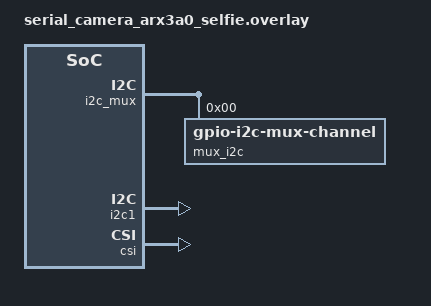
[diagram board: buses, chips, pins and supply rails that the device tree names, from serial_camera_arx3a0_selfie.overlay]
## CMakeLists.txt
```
# Copyright (C) 2026 Alif Semiconductor
# SPDX-License-Identifier: Apache-2.0

cmake_minimum_required(VERSION 3.20.0)
find_package(Zephyr REQUIRED HINTS $ENV{ZEPHYR_BASE})
project(video_capture)

target_sources(app PRIVATE src/main.c)
```

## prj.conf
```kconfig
# Copyright (C) 2026 Alif Semiconductor
# SPDX-License-Identifier: Apache-2.0

CONFIG_VIDEO=y
CONFIG_LOG=y
CONFIG_PRINTK=y
CONFIG_STDOUT_CONSOLE=y
CONFIG_I2C_TARGET=y
CONFIG_I2C=y
CONFIG_I2C_DW_CLOCK_SPEED=100
CONFIG_SYS_HEAP_AUTO=y
CONFIG_HEAP_MEM_POOL_SIZE=256
```

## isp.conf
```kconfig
# Copyright (C) 2026 Alif Semiconductor
# SPDX-License-Identifier: Apache-2.0
#
# ISP configuration. ISP output is 480x480 RGB888 planar (~691KB per frame).

CONFIG_VIDEO_BUFFER_POOL_SZ_MAX=154624
CONFIG_VIDEO_BUFFER_POOL_NUM_MAX=6
CONFIG_USE_ALIF_ISP_LIB=y
CONFIG_ISP_LIB_SCALAR_MODULE=y
CONFIG_ISP_LIB_DMSC_MODULE=y
CONFIG_ISP_LIB_CCM_MODULE=n
CONFIG_ISP_LIB_WBM_MODULE=n
CONFIG_ISP_LIB_WB_MODULE=n
```

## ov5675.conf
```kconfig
# Copyright (C) 2026 Alif Semiconductor
# SPDX-License-Identifier: Apache-2.0
#
# OV5675 non-ISP buffer pool configuration.
# OV5675 captures 1296x972 Y10P (pitch=2592), needing ~2.5MB per frame.
# Only 1 buffer fits in SRAM0 (4MB), so only single-frame capture is possible.

CONFIG_VIDEO_BUFFER_POOL_SZ_MAX=2523520
CONFIG_VIDEO_BUFFER_POOL_NUM_MAX=1
```

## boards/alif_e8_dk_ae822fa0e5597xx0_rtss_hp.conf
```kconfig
# Copyright (C) 2026 Alif Semiconductor
# SPDX-License-Identifier: Apache-2.0

CONFIG_VIDEO_ALIF_CAM_EXTENDED=y
```

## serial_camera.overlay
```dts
/* Copyright (C) 2026 Alif Semiconductor.
 * SPDX-License-Identifier: Apache-2.0
 *
 * Camera controller with direct memory output (non-ISP path).
 */

&cam {
	status = "okay";

	pinctrl-0 = <&pinctrl_cam_xvclk>;
	pinctrl-names = "default";

	data-mode = "16-bit";

	ports {
		#address-cells = <1>;
		#size-cells = <0>;

		/* MIPI CSI-2 bus endpoint. */
		port@0 {
			reg = <0>;
			cam_csi2_ep_in: endpoint {
				remote-endpoint-label = "csi2_ep_out";
			};
		};

		/* Video buffer output endpoint. */
		port@1 {
			reg = <1>;
			cam_mem_ep_out: endpoint {
				remote-endpoint-label = "application";
			};
		};
	};
};
```

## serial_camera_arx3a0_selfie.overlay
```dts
/* Copyright (C) 2026 Alif Semiconductor.
 * SPDX-License-Identifier: Apache-2.0
 *
 * ARX3A0 selfie camera sensor + MIPI CSI-2 configuration for E8-DK.
 */

#include <dt-bindings/pinctrl/ensemble-pinctrl.h>
#include <dt-bindings/i2c/i2c.h>
#include <dt-bindings/gpio/gpio.h>
#include <dt-bindings/video/video-interfaces.h>

&i2c1 {
	status = "okay";
};

&gpio7 {
	status = "okay";
};

&gpio14 {
	status = "okay";
};

/{
	i2c_mux: i2c-mux {
		compatible = "gpio-i2c-mux";
		status = "okay";
		#address-cells = <1>;
		#size-cells = <0>;

		i2c-inst = <&i2c1>;

		ctrl-gpios = <&gpio14 3 GPIO_ACTIVE_HIGH>;

		mux_i2c@0 {
			compatible = "gpio-i2c-mux-channel";
			reg = <0>;

			#address-cells = <1>;
			#size-cells = <0>;

			arx3a0_selfie: arx3a0_selfie@36 {
				compatible = "onnn,arx3a0";
				reg = <0x36>;

				reset-gpios = <&gpio14 4 GPIO_ACTIVE_HIGH>;
				power-gpios = <&gpio7 5 GPIO_ACTIVE_HIGH>;

				status = "okay";

				port {
					arx3a0_csi2_ep_out0: endpoint {
						bus-type = <VIDEO_BUS_TYPE_CSI2_DPHY>;
						link-frequencies = < 400000000 >;
						data-lanes = <1 2>;
						clock-lane = <0>;

						remote-endpoint-label = "csi2_ep_in0";
					};
				};
			};
		};
	};
};

&csi {
	status = "okay";
    

	/* Selfie camera D-PHY */
	phy-if = <&dphy 0>;
	ports {
		#address-cells = <1>;
		#size-cells = <0>;
		port@0 {
			reg = <0>;
			csi2_ep_in0: endpoint {
				bus-type = <VIDEO_BUS_TYPE_CSI2_DPHY>;
				data-lanes = <1 2>;
				clock-lane = <0>;

				remote-endpoint-label = "arx3a0_csi2_ep_out0";
			};
		};
		port@2 {
			reg = <2>;
			csi2_ep_out: endpoint {
				remote-endpoint-label = "cam_csi2_ep_in";
				bus-type = <VIDEO_BUS_TYPE_PARALLEL>;
			};
		};
	};
};
```

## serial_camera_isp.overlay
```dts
/* Copyright (C) 2026 Alif Semiconductor.
 * SPDX-License-Identifier: Apache-2.0
 *
 * Camera controller with ISP output path.
 */

&isp {
	status = "okay";

	port {
		isp_ep_in: endpoint {
			remote-endpoint-label = "cam_isp_ep_out";
		};
	};
};

&cam {
	status = "okay";

	pinctrl-0 = <&pinctrl_cam_xvclk>;
	pinctrl-names = "default";

	data-mode = "16-bit";

	ports {
		#address-cells = <1>;
		#size-cells = <0>;

		/* MIPI CSI-2 bus endpoint. */
		port@0 {
			reg = <0>;
			cam_csi2_ep_in: endpoint {
				remote-endpoint-label = "csi2_ep_out";
			};
		};

		/* ISP Interface. */
		port@2 {
			reg = <2>;
			cam_isp_ep_out: endpoint {
				remote-endpoint-label = "isp_ep_in";
			};
		};
	};
};
```

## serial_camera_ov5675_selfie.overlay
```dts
/* Copyright (C) 2026 Alif Semiconductor.
 * SPDX-License-Identifier: Apache-2.0
 *
 * OV5675 selfie camera sensor + MIPI CSI-2 configuration for E8-DK.
 */

#include <dt-bindings/pinctrl/ensemble-pinctrl.h>
#include <dt-bindings/i2c/i2c.h>
#include <dt-bindings/gpio/gpio.h>
#include <dt-bindings/video/video-interfaces.h>

&i2c1 {
	status = "okay";
	clock-frequency = <I2C_BITRATE_FAST>;

	/*
	 * For Standard  speed LCNT=0 and HCNT=0
	 * For Fast      speed LCNT=50 and HCNT=30
	 * For Fast Plus speed LCNT=35 and HCNT=5
	 */
	hcnt-offset = <30>;
	lcnt-offset = <50>;
};

&gpio7 {
	status = "okay";
};

&gpio14 {
	status = "okay";
};

/{
	i2c_mux: i2c-mux {
		compatible = "gpio-i2c-mux";
		status = "okay";
		#address-cells = <1>;
		#size-cells = <0>;

		i2c-inst = <&i2c1>;

		ctrl-gpios = <&gpio14 3 GPIO_ACTIVE_HIGH>;

		mux_i2c@0 {
			compatible = "gpio-i2c-mux-channel";
			reg = <0>;

			#address-cells = <1>;
			#size-cells = <0>;
			/* 10 for compact version, 36 for legacy version */
			ov5675_selfie: ov5675_selfie@10 {
				compatible = "ovti,ov5675";
				reg = <0x10>;

				reset-gpios = <&gpio14 4 GPIO_ACTIVE_HIGH>;
				power-gpios = <&gpio7 5 GPIO_ACTIVE_HIGH>;

				status = "okay";

				port {
					ov5675_csi2_ep_out0: endpoint {
						bus-type = <VIDEO_BUS_TYPE_CSI2_DPHY>;
						link-frequencies = < 450000000 >;
						data-lanes = <1 2>;
						clock-lane = <0>;

						remote-endpoint-label = "csi2_ep_in1";
					};
				};
			};
		};
	};
};

&csi {
	status = "okay";

	/* Selfie camera D-PHY */
	phy-if = <&dphy 0>;
	ports {
		#address-cells = <1>;
		#size-cells = <0>;
		port@0 {
			reg = <0>;
			csi2_ep_in1: endpoint {
				bus-type = <VIDEO_BUS_TYPE_CSI2_DPHY>;
				data-lanes = <1 2>;
				clock-lane = <0>;

				remote-endpoint-label = "ov5675_csi2_ep_out0";
			};
		};
		port@2 {
			reg = <2>;
			csi2_ep_out: endpoint {
				remote-endpoint-label = "cam_csi2_ep_in";
				bus-type = <VIDEO_BUS_TYPE_PARALLEL>;
			};
		};
	};
};
```

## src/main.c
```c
/*
 * Copyright (C) 2026 Alif Semiconductor.
 * SPDX-License-Identifier: Apache-2.0
 *
 * Minimal video capture sample.
 * Captures a few frames and prints buffer addresses for memory dump.
 */

#include <zephyr/kernel.h>
#include <zephyr/device.h>
#include <zephyr/drivers/video.h>
#include <zephyr/drivers/video/video_alif.h>
#include <zephyr/drivers/gpio.h>
#include <soc_common.h>
#include <se_service.h>

#include <zephyr/logging/log.h>
LOG_MODULE_REGISTER(video_capture, LOG_LEVEL_INF);

#define ISP_ENABLED DT_NODE_HAS_STATUS_OKAY(DT_NODELABEL(isp))

#if ISP_ENABLED
#include <zephyr/drivers/video/isp-vsi.h>
#define OUTPUT_FORMAT VIDEO_PIX_FMT_RGB888_PLANAR_PRIVATE
#endif

#define VIDEO_BUFFER_COUNT CONFIG_VIDEO_BUFFER_POOL_NUM_MAX

#define PIPELINE_FORMAT VIDEO_PIX_FMT_Y10P
/* With single-buffer, driver stops CSI between frames and restart is unreliable.
 * Limit to 1 frame in that case; double-buffering (2+) allows continuous capture.
 */
#define N_FRAMES (VIDEO_BUFFER_COUNT > 1 ? 3 : 1)

static int fourcc_to_pitch(uint32_t fourcc, uint32_t width)
{
	switch (fourcc) {
	case VIDEO_PIX_FMT_RGB888_PLANAR_PRIVATE:
		return width * 3;
	case VIDEO_PIX_FMT_RGB565:
	case VIDEO_PIX_FMT_Y10P:
	case VIDEO_PIX_FMT_YUYV:
		return width << 1;
	case VIDEO_PIX_FMT_BGGR8:
	case VIDEO_PIX_FMT_GBRG8:
	case VIDEO_PIX_FMT_GRBG8:
	case VIDEO_PIX_FMT_RGGB8:
	case VIDEO_PIX_FMT_GREY:
	default:
		return width;
	}
}

int main(void)
{
	struct video_buffer *buffers[VIDEO_BUFFER_COUNT], *vbuf;
	struct video_format fmt = {0};
	struct video_caps caps;
	const struct device *video;
	enum video_endpoint_id ep;
	size_t bsize;
	int i = 0;
	int ret;

#if ISP_ENABLED
	video = DEVICE_DT_GET_ONE(vsi_isp_pico);
#else
	video = DEVICE_DT_GET_ONE(alif_cam);
#endif

	if (!device_is_ready(video)) {
		LOG_ERR("%s: device not ready.", video->name);
		return -1;
	}
	LOG_INF("Device: %s", video->name);

	/* Get capabilities from the pipeline input side */
#if ISP_ENABLED
	ep = VIDEO_EP_IN;
#else
	ep = VIDEO_EP_OUT;
#endif

	ret = video_get_caps(video, ep, &caps);
	if (ret) {
		LOG_ERR("Unable to retrieve video capabilities");
		return -1;
	}

	/* Find Y10P format in caps */
	while (caps.format_caps[i].pixelformat) {
		const struct video_format_cap *fcap = &caps.format_caps[i];

		LOG_INF("Cap: %c%c%c%c %ux%u",
			(char)fcap->pixelformat,
			(char)(fcap->pixelformat >> 8),
			(char)(fcap->pixelformat >> 16),
			(char)(fcap->pixelformat >> 24),
			fcap->width_min, fcap->height_min);

		if (fcap->pixelformat == PIPELINE_FORMAT) {
			fmt.pixelformat = PIPELINE_FORMAT;
			fmt.width = fcap->width_min;
			fmt.height = fcap->height_min;
		}
		i++;
	}

	if (fmt.pixelformat == 0) {
		LOG_ERR("Desired pixel format not supported");
		return -1;
	}

	fmt.pitch = fourcc_to_pitch(fmt.pixelformat, fmt.width);

	ret = video_set_format(video, ep, &fmt);
	if (ret) {
		LOG_ERR("Failed to set video format: %d", ret);
		return -1;
	}

	LOG_INF("Pipeline format: %c%c%c%c %ux%u",
		(char)fmt.pixelformat,
		(char)(fmt.pixelformat >> 8),
		(char)(fmt.pixelformat >> 16),
		(char)(fmt.pixelformat >> 24),
		fmt.width, fmt.height);

#if ISP_ENABLED
	/* Set ISP output format */
	fmt.pixelformat = OUTPUT_FORMAT;
	fmt.width = 480;
	fmt.height = 480;
	fmt.pitch = fourcc_to_pitch(fmt.pixelformat, fmt.width);

	ret = video_set_format(video, VIDEO_EP_OUT, &fmt);
	if (ret) {
		LOG_ERR("Failed to set ISP output format: %d", ret);
		return -1;
	}

	LOG_INF("Output format: %c%c%c%c %ux%u",
		(char)fmt.pixelformat,
		(char)(fmt.pixelformat >> 8),
		(char)(fmt.pixelformat >> 16),
		(char)(fmt.pixelformat >> 24),
		fmt.width, fmt.height);
#endif

	/* Allocate and enqueue video buffers */
	bsize = fmt.pitch * fmt.height;
	LOG_INF("Buffer size: %u (pitch=%u height=%u)", bsize, fmt.pitch, fmt.height);

	for (i = 0; i < ARRAY_SIZE(buffers); i++) {
		buffers[i] = video_buffer_alloc(bsize, K_NO_WAIT);
		if (buffers[i] == NULL) {
			LOG_ERR("Unable to alloc video buffer");
			return -1;
		}

		LOG_INF("Buffer[%d]: addr=0x%08x size=%u",
			i, (uint32_t)buffers[i]->buffer, bsize);

		video_enqueue(video, VIDEO_EP_OUT, buffers[i]);
	}

	/* Start streaming */
	ret = video_stream_start(video);
	if (ret) {
		LOG_ERR("Unable to start capture: %d", ret);
		return -1;
	}

	LOG_INF("Capture started - waiting for %d frames", N_FRAMES);

	/* Capture frames */
	for (i = 0; i < N_FRAMES; i++) {
		ret = video_dequeue(video, VIDEO_EP_OUT, &vbuf, K_FOREVER);
		if (ret) {
			LOG_ERR("Unable to dequeue video buf: %d", ret);
			break;
		}

		LOG_INF("Frame %d: addr=0x%08x bytesused=%u timestamp=%u ms",
			i, (uint32_t)vbuf->buffer, vbuf->bytesused, vbuf->timestamp);

		/* Print dump command for debugger */
		LOG_INF("  dump binary memory \"/tmp/frame_%d.bin\" 0x%08x 0x%08x",
			i, (uint32_t)vbuf->buffer,
			(uint32_t)vbuf->buffer + vbuf->bytesused - 1);

		/* Quick sanity: check first 16 bytes */
		uint8_t *p = vbuf->buffer;

		LOG_INF("  first 16 bytes: %02x %02x %02x %02x %02x %02x %02x %02x "
			"%02x %02x %02x %02x %02x %02x %02x %02x",
			p[0], p[1], p[2], p[3], p[4], p[5], p[6], p[7],
			p[8], p[9], p[10], p[11], p[12], p[13], p[14], p[15]);

		/* Re-enqueue for next capture */
		ret = video_enqueue(video, VIDEO_EP_OUT, vbuf);
		if (ret) {
			LOG_ERR("Unable to requeue video buf: %d", ret);
			break;
		}

		ret = video_stream_start(video);
		if (ret && ret != -EBUSY) {
			LOG_ERR("Unable to restart capture: %d", ret);
			break;
		}
	}

	LOG_INF("Capture complete");

	video_flush(video, VIDEO_EP_OUT, false);
	video_stream_stop(video);

	return 0;
}

/*
 * System configuration - based on the working img_class pattern.
 * Zero-initialized run_profile_t is critical for correct PHY config.
 */
static int app_set_parameters(void)
{
#if (DT_NODE_HAS_STATUS(DT_NODELABEL(cam), okay))
	int ret;
	run_profile_t runp = {0};

#if (DT_NODE_HAS_STATUS(DT_NODELABEL(camera_select), okay))
	const struct gpio_dt_spec sel =
		GPIO_DT_SPEC_GET(DT_NODELABEL(camera_select), select_gpios);

	gpio_pin_configure_dt(&sel, GPIO_OUTPUT);
	gpio_pin_set_dt(&sel, 1);
#endif

	runp.power_domains = PD_SYST_MASK | PD_SSE700_AON_MASK | PD_DBSS_MASK;
	runp.dcdc_voltage  = 825;
	runp.dcdc_mode     = DCDC_MODE_PWM;
	runp.aon_clk_src   = CLK_SRC_LFXO;
	runp.run_clk_src   = CLK_SRC_PLL;
	runp.vdd_ioflex_3V3 = IOFLEX_LEVEL_1V8;
#if defined(CONFIG_RTSS_HP)
	runp.cpu_clk_freq  = CLOCK_FREQUENCY_400MHZ;
#else
	runp.cpu_clk_freq  = CLOCK_FREQUENCY_160MHZ;
#endif

	runp.memory_blocks = MRAM_MASK;
#if DT_NODE_EXISTS(DT_NODELABEL(sram0))
	runp.memory_blocks |= SRAM0_MASK;
#endif
#if DT_NODE_EXISTS(DT_NODELABEL(sram1))
	runp.memory_blocks |= SRAM1_MASK;
#endif

	runp.phy_pwr_gating |= MIPI_TX_DPHY_MASK | MIPI_RX_DPHY_MASK |
		MIPI_PLL_DPHY_MASK | LDO_PHY_MASK;
	runp.ip_clock_gating = CAMERA_MASK | MIPI_CSI_MASK | MIPI_DSI_MASK;

	ret = se_service_set_run_cfg(&runp);
	__ASSERT(ret == 0, "SE: set_run_cfg failed = %d", ret);

	/*
	 * CPI Pixel clock - Generate XVCLK.
	 * Used by ARX3A0 & OV5675 sensors.
	 */
#if defined(CONFIG_VIDEO_MIPI_CSI2_DW)
	sys_write32(0x140001, CLKCTRL_PER_MST_CAMERA_PIXCLK_CTRL);
#endif
#endif /* DT_NODE_HAS_STATUS(DT_NODELABEL(cam), okay) */

	return 0;
}

SYS_INIT(app_set_parameters, PRE_KERNEL_1, 46);
```
